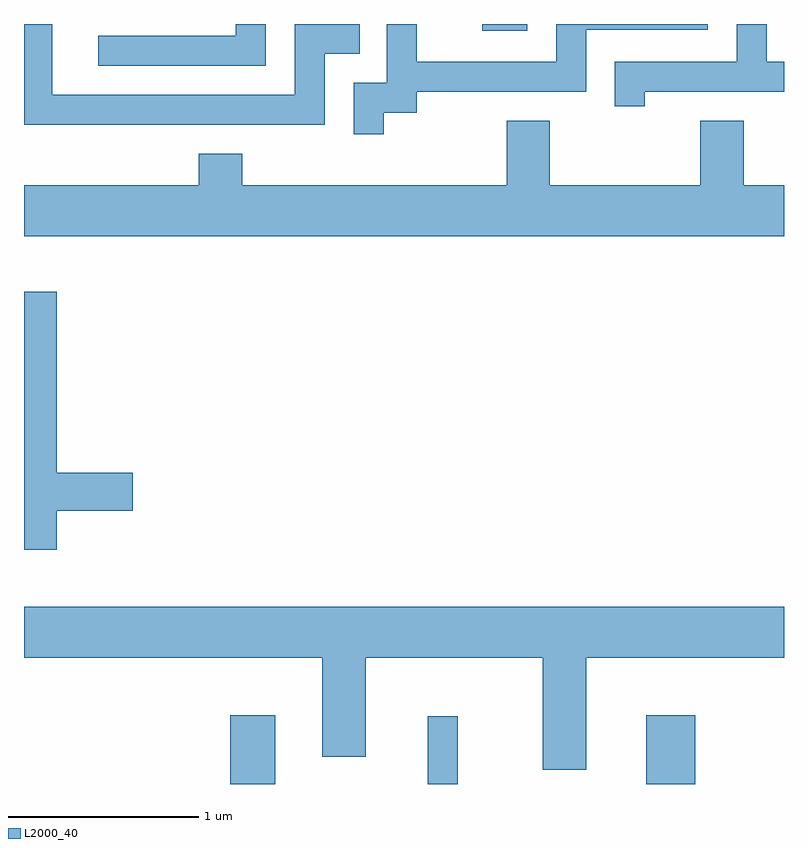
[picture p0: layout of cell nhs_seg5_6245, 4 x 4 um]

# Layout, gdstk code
import gdstk
lib = gdstk.Library(unit=1e-6, precision=1e-09)
def R(c, l, rs):  # rectangles x0, y0, x1, y1
    for r in rs: c.add(gdstk.rectangle(r[:2], r[2:], *l))
def P(c, l, *ps):  # polygons
    for p in ps: c.add(gdstk.Polygon(p, *l))
L2000_40 = (2000, 40)

nhs_seg5_6245 = lib.new_cell('nhs_seg5_6245')
R(nhs_seg5_6245, L2000_40, [(370.696,1516.072,370.934,1516.434), (371.736,1516.072,371.894,1516.428), (372.886,1516.072,373.144,1516.434), (372.023,1520.036,372.259,1520.072)])
P(nhs_seg5_6245, L2000_40, [(372.879,1519.716),(373.611,1519.716),(373.611,1519.874),(373.519,1519.874),(373.519,1520.072),(373.361,1520.072),(373.361,1519.874),(372.721,1519.874),(372.721,1519.638),(372.879,1519.638)],
  [(370.884,1520.072),(370.726,1520.072),(370.726,1520.009),(370.003,1520.009),(370.003,1519.851),(370.884,1519.851)],
  [(371.194,1519.916),(371.378,1519.916),(371.378,1520.072),(371.036,1520.072),(371.036,1519.699),(369.759,1519.699),(369.759,1520.072),(369.611,1520.072),(369.611,1519.541),(371.194,1519.541)],
  [(371.504,1519.606),(371.679,1519.606),(371.679,1519.716),(372.569,1519.716),(372.569,1520.041),(373.209,1520.041),(373.209,1520.072),(372.411,1520.072),(372.411,1519.874),(371.679,1519.874),(371.679,1520.072),(371.521,1520.072),(371.521,1519.764),(371.346,1519.764),(371.346,1519.493),(371.504,1519.493)],
  [(373.611,1519.224),(373.399,1519.224),(373.399,1519.564),(373.171,1519.564),(373.171,1519.224),(372.379,1519.224),(372.379,1519.564),(372.151,1519.564),(372.151,1519.224),(370.759,1519.224),(370.759,1519.389),(370.531,1519.389),(370.531,1519.224),(369.611,1519.224),(369.611,1518.956),(373.611,1518.956)],
  [(369.784,1517.511),(370.184,1517.511),(370.184,1517.709),(369.784,1517.709),(369.784,1518.664),(369.611,1518.664),(369.611,1517.306),(369.784,1517.306)],
  [(372.569,1516.736),(373.611,1516.736),(373.611,1517.004),(369.611,1517.004),(369.611,1516.736),(371.181,1516.736),(371.181,1516.216),(371.409,1516.216),(371.409,1516.736),(372.341,1516.736),(372.341,1516.146),(372.569,1516.146)])

lib.write_gds('nhs_seg5_6245.gds')
